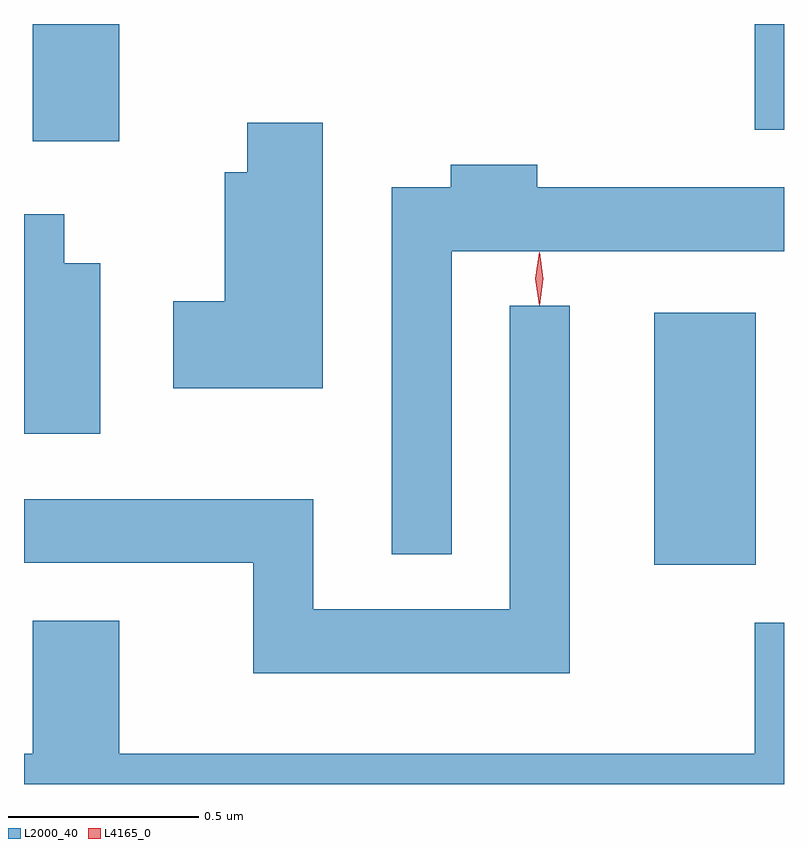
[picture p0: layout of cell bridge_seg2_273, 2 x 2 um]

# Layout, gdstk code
import gdstk
lib = gdstk.Library(unit=1e-6, precision=1e-09)
def R(c, l, rs):  # rectangles x0, y0, x1, y1
    for r in rs: c.add(gdstk.rectangle(r[:2], r[2:], *l))
def P(c, l, *ps):  # polygons
    for p in ps: c.add(gdstk.Polygon(p, *l))
L2000_40 = (2000, 40)
L4165_0 = (4165, 0)

bridge_seg2_273 = lib.new_cell('bridge_seg2_273')
R(bridge_seg2_273, L2000_40, [(650.376,1106.801,650.644,1107.464), (648.741,1107.916,648.969,1108.224), (650.641,1107.946,650.718,1108.224)])
P(bridge_seg2_273, L2000_40, [(649.504,1107.964),(649.306,1107.964),(649.306,1107.834),(649.246,1107.834),(649.246,1107.494),(649.111,1107.494),(649.111,1107.266),(649.504,1107.266)],
  [(649.844,1107.626),(650.718,1107.626),(650.718,1107.794),(650.069,1107.794),(650.069,1107.854),(649.841,1107.854),(649.841,1107.794),(649.686,1107.794),(649.686,1106.828),(649.844,1106.828)],
  [(648.919,1107.594),(648.824,1107.594),(648.824,1107.724),(648.718,1107.724),(648.718,1107.146),(648.919,1107.146)],
  [(650.154,1107.483),(649.996,1107.483),(649.996,1106.684),(649.479,1106.684),(649.479,1106.974),(648.718,1106.974),(648.718,1106.806),(649.321,1106.806),(649.321,1106.516),(650.154,1106.516)],
  [(650.718,1106.649),(650.641,1106.649),(650.641,1106.304),(648.969,1106.304),(648.969,1106.654),(648.741,1106.654),(648.741,1106.304),(648.718,1106.304),(648.718,1106.224),(650.718,1106.224)])
P(bridge_seg2_273, L4165_0, [(650.074,1107.484),(650.074,1107.484),(650.064,1107.553),(650.074,1107.623),(650.074,1107.623),(650.075,1107.623),(650.084,1107.553),(650.075,1107.484)])

lib.write_gds('bridge_seg2_273.gds')
